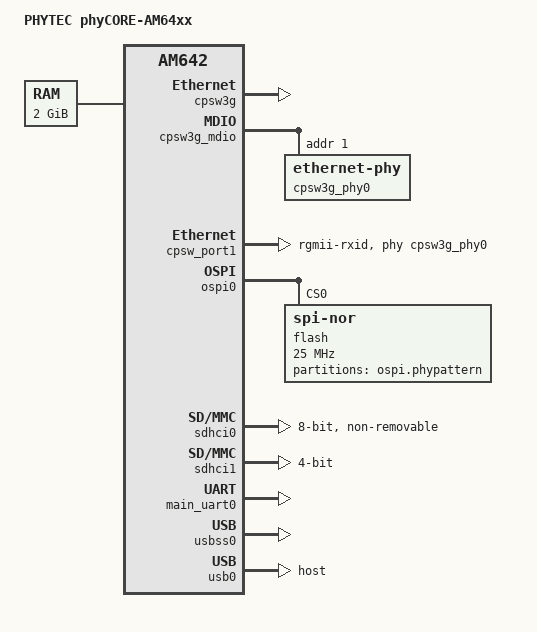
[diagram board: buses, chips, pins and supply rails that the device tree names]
// SPDX-License-Identifier: GPL-2.0
/*
 * Copyright (C) 2021 PHYTEC America, LLC - https://www.phytec.com
 */

/dts-v1/;

#include <dt-bindings/net/ti-dp83867.h>
#include "k3-am642.dtsi"

/ {
	model = "PHYTEC phyCORE-AM64xx";
	compatible =  "phytec,am64xx-phycore-som", "ti,am642";

	chosen {
		bootargs = "console=ttyS2,115200n8 earlycon=ns16550a,mmio32,0x02800000";
		stdout-path = &main_uart0;
		tick-timer = &timer1;
	};

	aliases {
		ethernet0 = &cpsw3g;
	};

	memory@80000000 {
		device_type = "memory";
		reg = <0x00000000 0x80000000 0x00000000 0x80000000>;
	};

	reserved-memory {
		#address-cells = <2>;
		#size-cells = <2>;
		ranges;

		secure_ddr: optee@9e800000 {
			reg = <0x00 0x9e800000 0x00 0x01800000>; /* for OP-TEE */
			alignment = <0x1000>;
			no-map;
		};
	};

};

&cpsw3g {
	status = "okay";
	pinctrl-names = "default";
	pinctrl-0 = <&cpsw_mdio_pins_default &cpsw_rgmii1_pins_default>;
};

&cpsw3g_mdio {
	status = "okay";

	cpsw3g_phy0: ethernet-phy@1 {
		reg = <1>;
		ti,rx-internal-delay = <DP83867_RGMIIDCTL_2_00_NS>;
		ti,fifo-depth = <DP83867_PHYCR_FIFO_DEPTH_4_B_NIB>;
	};
};

&cpsw_port1 {
	status = "okay";
	phy-mode = "rgmii-rxid";
	phy-handle = <&cpsw3g_phy0>;
};

&cpsw_port2 {
	status = "disabled";
};

&ospi0 {
	status = "okay";
	pinctrl-names = "default";
	pinctrl-0 = <&ospi0_pins_default>;

	flash@0 {
		compatible = "jedec,spi-nor";
		reg = <0x0>;
		spi-tx-bus-width = <8>;
		spi-rx-bus-width = <8>;
		spi-max-frequency = <25000000>;
		cdns,tshsl-ns = <60>;
		cdns,tsd2d-ns = <60>;
		cdns,tchsh-ns = <60>;
		cdns,tslch-ns = <60>;
		cdns,read-delay = <0>;
		cdns,phy-mode;
		#address-cells = <1>;
		#size-cells = <1>;

		partition@3fc0000 {
			label = "ospi.phypattern";
			reg = <0x3fc0000 0x40000>;
		};
	};
};

&sdhci0 {
	status = "okay";
	bus-width = <8>;
	non-removable;
	ti,driver-strength-ohm = <50>;
	disable-wp;
	/* temporarily disable hs400 until new eMMC chips can be tested */
	/delete-property/ mmc-hs400-1_8v;
};

&sdhci1 {
	status = "okay";
	pinctrl-names = "default";
	bus-width = <4>;
	pinctrl-0 = <&main_mmc1_pins_default>;
	ti,driver-strength-ohm = <50>;
	disable-wp;
};

&main_uart0 {
	status = "okay";
	pinctrl-names = "default";
	pinctrl-0 = <&main_uart0_pins_default>;
};

&usbss0 {
	status = "okay";
	ti,vbus-divider;
	ti,usb2-only;
};

&usb0 {
	status = "okay";
	pinctrl-names = "default";
	pinctrl-0 = <&main_usb0_pins_default>;
	dr_mode = "host";
	maximum-speed = "high-speed";
};

&main_pmx0 {
	cpsw_mdio_pins_default: cpsw-mdio-pins-default {
		pinctrl-single,pins = <
			AM64X_IOPAD(0x01f8, PIN_INPUT, 4)	/* (P5) PRG0_PRU1_GPO18.MDIO0_MDIO */
			AM64X_IOPAD(0x01fc, PIN_OUTPUT, 4)	/* (R2) PRG0_PRU1_GPO19.MDIO0_MDC */
		>;
	};

	cpsw_rgmii1_pins_default: cpsw-rgmii1-pins-default {
		pinctrl-single,pins = <
			AM64X_IOPAD(0x00cc, PIN_INPUT, 4)	/* (V13) PRG1_PRU0_GPO5.RGMII1_RX_CTL */
			AM64X_IOPAD(0x00d8, PIN_INPUT, 4)	/* (W13) PRG1_PRU0_GPO8.RGMII1_RXC */
			AM64X_IOPAD(0x00dc, PIN_OUTPUT, 4)	/* (U15) PRG1_PRU0_GPO9.RGMII1_TX_CTL */
			AM64X_IOPAD(0x00e0, PIN_OUTPUT, 4)	/* (U14) PRG1_PRU0_GPO10.RGMII1_TXC */
			AM64X_IOPAD(0x011c, PIN_INPUT, 4)	/* (AA13) PRG1_PRU1_GPO5.RGMII1_RD0 */
			AM64X_IOPAD(0x0124, PIN_OUTPUT, 4)	/* (V15) PRG1_PRU1_GPO7.RGMII1_TD0 */
			AM64X_IOPAD(0x0128, PIN_INPUT, 4)	/* (U12) PRG1_PRU1_GPO8.RGMII1_RD1 */
			AM64X_IOPAD(0x012c, PIN_OUTPUT, 4)	/* (V14) PRG1_PRU1_GPO9.RGMII1_TD1 */
			AM64X_IOPAD(0x0130, PIN_OUTPUT, 4)	/* (W14) PRG1_PRU1_GPO10.RGMII1_TD2 */
			AM64X_IOPAD(0x014c, PIN_OUTPUT, 4)	/* (AA14) PRG1_PRU1_GPO17.RGMII1_TD3 */
			AM64X_IOPAD(0x0150, PIN_INPUT, 4)	/* (Y13) PRG1_PRU1_GPO18.RGMII1_RD2 */
			AM64X_IOPAD(0x0154, PIN_INPUT, 4)	/* (V12) PRG1_PRU1_GPO19.RGMII1_RD3 */
		>;
	};

	main_mmc1_pins_default: main-mmc1-pins-default {
		pinctrl-single,pins = <
			AM64X_IOPAD(0x027c, PIN_INPUT_PULLUP, 0)	/* (K18) MMC1_DAT3 */
			AM64X_IOPAD(0x0280, PIN_INPUT_PULLUP, 0)	/* (K19) MMC1_DAT2 */
			AM64X_IOPAD(0x0284, PIN_INPUT_PULLUP, 0)	/* (L21) MMC1_DAT1 */
			AM64X_IOPAD(0x0288, PIN_INPUT_PULLUP, 0)	/* (K21) MMC1_DAT0 */
			AM64X_IOPAD(0x028c, PIN_INPUT_PULLDOWN, 0)	/* (L20) MMC1_CLK */
			AM64X_IOPAD(0x0290, PIN_INPUT, 0)		/* MMC1_CLKLB */
			AM64X_IOPAD(0x0294, PIN_INPUT_PULLUP, 0)	/* (J19) MMC1_CMD */
			AM64X_IOPAD(0x0298, PIN_INPUT, 0)		/* (D19) MMC1_SDCD */
		>;
	};

	main_uart0_pins_default: main-uart0-pins-default {
		pinctrl-single,pins = <
			AM64X_IOPAD(0x0230, PIN_INPUT, 0)	/* (D15) UART0_RXD */
			AM64X_IOPAD(0x0234, PIN_OUTPUT, 0)	/* (C16) UART0_TXD */
		>;
	};

	main_usb0_pins_default: main-usb0-pins-default {
		pinctrl-single,pins = <
			AM64X_IOPAD(0x02a8, PIN_OUTPUT, 0)	/* (E19) USB0_DRVVBUS */
		>;
	};

	ospi0_pins_default: ospi0-pins-default {
		pinctrl-single,pins = <
			AM64X_IOPAD(0x0000, PIN_OUTPUT, 0)	/* (N20) OSPI0_CLK */
			AM64X_IOPAD(0x0008, PIN_INPUT, 0)	/* (N19) OSPI0_DQS */
			AM64X_IOPAD(0x000c, PIN_INPUT, 0)	/* (M19) OSPI0_D0 */
			AM64X_IOPAD(0x0010, PIN_INPUT, 0)	/* (M18) OSPI0_D1 */
			AM64X_IOPAD(0x0014, PIN_INPUT, 0)	/* (M20) OSPI0_D2 */
			AM64X_IOPAD(0x0018, PIN_INPUT, 0)	/* (M21) OSPI0_D3 */
			AM64X_IOPAD(0x001c, PIN_INPUT, 0)	/* (P21) OSPI0_D4 */
			AM64X_IOPAD(0x0020, PIN_INPUT, 0)	/* (P20) OSPI0_D5 */
			AM64X_IOPAD(0x0024, PIN_INPUT, 0)	/* (N18) OSPI0_D6 */
			AM64X_IOPAD(0x0028, PIN_INPUT, 0)	/* (M17) OSPI0_D7 */
			AM64X_IOPAD(0x002c, PIN_OUTPUT, 0)	/* (L19) OSPI0_CSn0 */
		>;
	};
};
